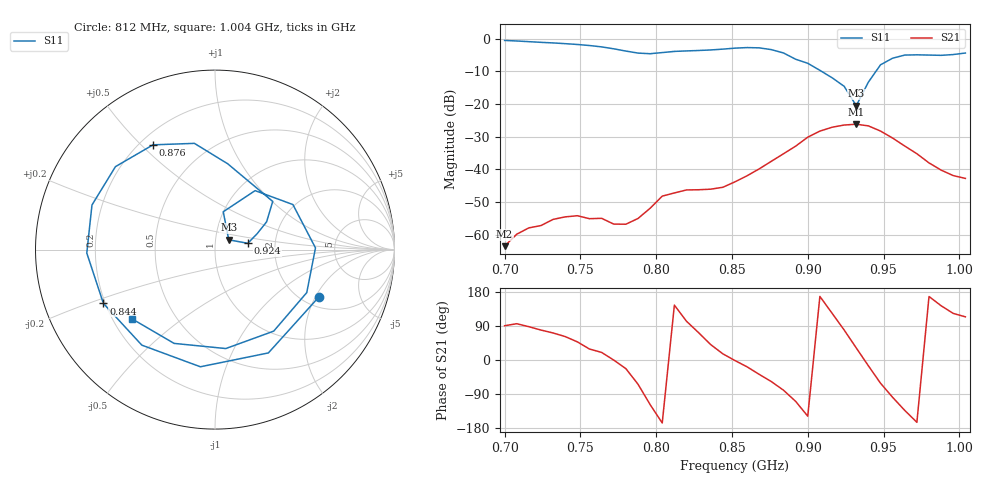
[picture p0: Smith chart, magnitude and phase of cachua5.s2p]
# Hz S RI R 50
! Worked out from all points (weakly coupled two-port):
!   39 points, 700 MHz to 1.004 GHz, reference 50 ohm
!   highest |S21| = -26.21 dB at 932 MHz (marker M1); lowest = -63.5 dB at 700 MHz (marker M2)
!   lowest |S11| = -20.5 dB at 932 MHz (marker M3), VSWR 1.21, Z = 57.9 + j6.38 ohm
!   |S11| at or under -10 dB: 909 MHz to 945 MHz (35.99 MHz wide, 3.88 % of centre)
!   S12 and S22 are empty: the file has one direction only
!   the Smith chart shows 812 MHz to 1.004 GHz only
!   S11 on the Smith chart (normalised r, x): 812 MHz: 2.43, -2.14; 844 MHz: 0.19, -0.22; 876 MHz: 0.25, +0.54; 924 MHz: 1.44, +0.10; 1.004 GHz: 0.28, -0.34
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7e8  0.7583 0.5504  -5.1e-06 0.000665  0 0  0 0
7.24e8  0.8427 -0.2421  0.000263 0.00135  0 0  0 0
7.4e8  0.4584 -0.7003  0.000884 0.00165  0 0  0 0
7.56e8  -0.1906 -0.7602  0.00153 0.000847  0 0  0 0
7.72e8  -0.6663 -0.2086  0.00145 -5.74e-06  0 0  0 0
7.8e8  -0.6067 0.2188  0.00133 -0.000559  0 0  0 0
7.88e8  -0.264 0.5392  0.000779 -0.00158  0 0  0 0
7.96e8  0.2256 0.542  -0.00117 -0.00224  0 0  0 0
8.04e8  0.5773 0.2011  -0.00377 -0.000924  0 0  0 0
8.12e8  0.5802 -0.2623  -0.00354 0.0025  0 0  0 0
8.28e8  -0.0815 -0.6529  0.0015 0.00462  0 0  0 0
8.44e8  -0.6217 -0.3  0.00509 0.00148  0 0  0 0
8.52e8  -0.7143 -0.0192  0.00642 -0.000166  0 0  0 0
8.76e8  -0.3452 0.5837  0.00722 -0.0111  0 0  0 0
9e8  0.3217 0.2684  -0.0263 -0.0163  0 0  0 0
9.08e8  0.2877 0.1551  -0.0375 0.00813  0 0  0 0
9.24e8  0.1829 0.0351  0.00885 0.0467  0 0  0 0
9.32e8  0.0765 0.0546  0.0416 0.0258  0 0  0 0
9.56e8  0.4341 0.2509  -0.00443 -0.0297  0 0  0 0
9.64e8  0.5598 0.00948  -0.0155 -0.0166  0 0  0 0
9.8e8  0.3272 -0.4542  -0.0122 0.00269  0 0  0 0
1.004e9  -0.4606 -0.3869  -0.00294 0.00662  0 0  0 0
